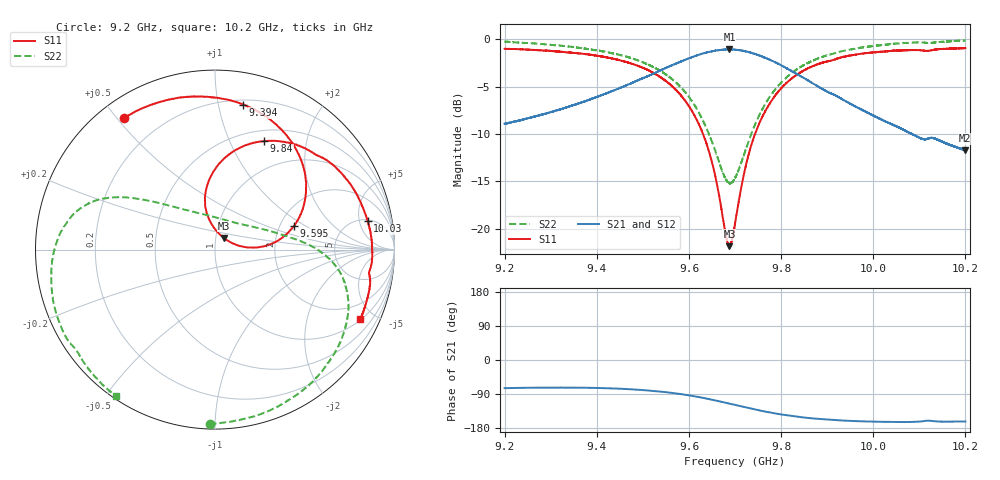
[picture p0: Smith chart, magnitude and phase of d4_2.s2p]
!Agilent Technologies,N5242A,MY51221714,A.09.90.19
!Agilent N5242A: A.09.90.19
!Date: Saturday, March 16, 2024 09:10:53
!Correction: S11(Full 2 Port(1,2))
!S21(Full 2 Port(1,2))
!S12(Full 2 Port(1,2))
!S22(Full 2 Port(1,2))
!S2P File: Measurements: S11, S21, S12, S22:
# Hz S  dB  R 50
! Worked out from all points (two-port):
!   16001 points, 9.2 GHz to 10.2 GHz, reference 50 ohm
!   highest |S21| = -1.07 dB at 9.688 GHz (marker M1); lowest = -11.7 dB at 10.2 GHz (marker M2)
!   |S21| within 3 dB of the highest: 9.501924 GHz to 9.50211 GHz (186.6 kHz wide, 0.00196 % of centre); 9.502 GHz to 9.849 GHz (346.6 MHz wide, 3.58 % of centre)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
!   lowest |S11| = -21.8 dB at 9.688 GHz (marker M3), VSWR 1.18, Z = 54.7 + j7.06 ohm
!   |S11| at or under -10 dB: 9.631 GHz to 9.744 GHz (113 MHz wide, 1.17 % of centre)
!   |S22| runs from -15.2 to -0.1 dB; largest |S21 - S12| = 0.01
!   S11 on the Smith chart (normalised r, x): 9.2 GHz: 0.07, +0.52; 9.394 GHz: 0.24, +1.19; 9.595 GHz: 2.39, +0.81; 9.84 GHz: 0.63, +1.36; 10.03 GHz: 5.33, +6.71; 10.2 GHz: 1.05, -4.16
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9.2e9  -1.02 124.7  -8.93 -74.2  -8.92 -74.8  -0.25 -91.8
9.277625e9  -1.16 107.1  -8.00 -73.0  -7.98 -73.5  -0.49 -70.4
9.366688e9  -1.52 85.9  -6.68 -73.2  -6.66 -73.7  -0.94 -46.8
9.39375e9  -1.70 78.9  -6.20 -73.6  -6.19 -74.2  -1.13 -39.8
9.463875e9  -2.40 59.7  -4.87 -76.6  -4.87 -77.1  -1.84 -23.4
9.533375e9  -3.84 38.2  -3.39 -82.7  -3.39 -83.2  -3.21 -8.7
9.595375e9  -6.72 16.9  -2.09 -92.3  -2.08 -92.9  -5.79 3.5
9.642625e9  -11.72 3.5  -1.34 -102.9  -1.34 -103.5  -9.88 19.1
9.687812e9  -21.83 52.4  -1.08 -115.1  -1.07 -115.6  -15.15 72.3
9.688062e9  -21.77 53.1  -1.07 -115.2  -1.07 -115.7  -15.14 72.7
9.7e9  -19.48 86.0  -1.10 -118.6  -1.08 -119.2  -14.66 94.9
9.724562e9  -13.13 102.7  -1.29 -125.6  -1.28 -126.1  -11.45 125.0
9.751812e9  -8.98 97.3  -1.70 -132.8  -1.68 -133.3  -8.08 139.3
9.7985e9  -5.27 80.7  -2.71 -143.3  -2.71 -143.9  -4.66 150.1
9.84e9  -3.56 65.6  -3.82 -150.3  -3.83 -150.8  -2.99 157.0
9.866688e9  -2.89 56.6  -4.60 -153.9  -4.58 -154.5  -2.31 161.3
9.9515e9  -1.70 31.4  -6.84 -160.8  -6.83 -161.3  -1.07 177.4
1.003269e10  -1.25 10.5  -8.80 -163.3  -8.80 -163.8  -0.54 -164.9
1.003338e10  -1.26 10.3  -8.83 -163.3  -8.82 -163.9  -0.54 -164.7
1.0104e10  -1.17 -6.1  -10.47 -162.0  -10.47 -162.5  -0.33 -148.5
1.019981e10  -0.95 -25.5  -11.71 -162.1  -11.70 -162.8  -0.13 -124.1
1.02e10  -0.94 -25.5  -11.71 -162.2  -11.71 -162.7  -0.13 -124.0
